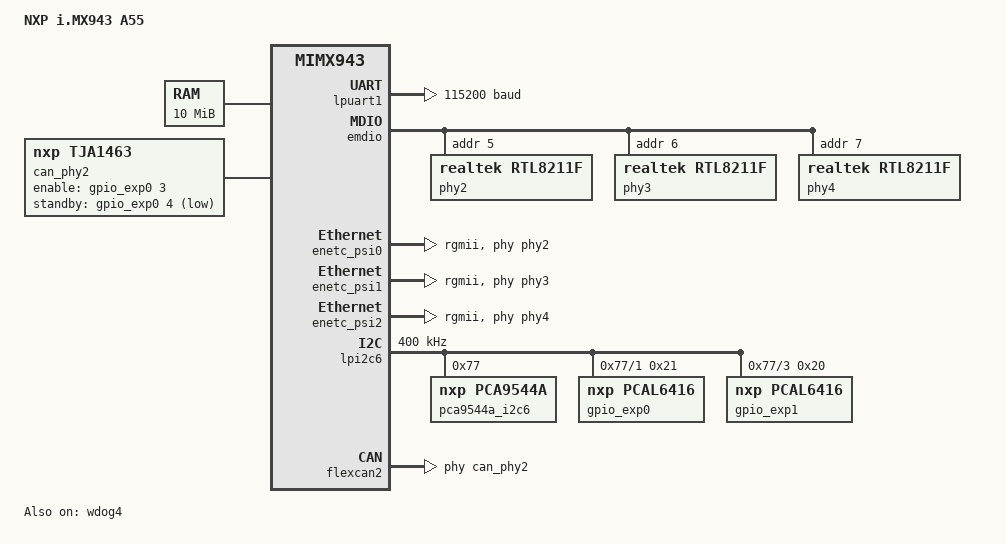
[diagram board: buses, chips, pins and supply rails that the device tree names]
/*
 * Copyright 2025-2026 NXP
 *
 * SPDX-License-Identifier: Apache-2.0
 */

/dts-v1/;

#include <nxp/nxp_mimx943_a55.dtsi>
#include "imx943_evk-pinctrl.dtsi"

/ {
	model = "NXP i.MX943 A55";
	compatible = "fsl,mimx943";

	aliases {
		watchdog0 = &wdog4;
	};

	chosen {
		zephyr,console = &lpuart1;
		zephyr,shell-uart = &lpuart1;
		/* sram node actually locates at DDR DRAM */
		zephyr,sram = &dram;
		zephyr,canbus = &flexcan2;
	};

	cpus {
		cpu@0 {
			status = "disabled";
		};

		cpu@100 {
			status = "disabled";
		};

		cpu@200 {
			status = "disabled";
		};
	};

	dram: memory@d0000000 {
		reg = <0xd0000000 DT_SIZE_M(10)>;
	};

	can_phy2: can-phy2 {
		compatible = "nxp,tja1463", "can-transceiver-gpio";
		enable-gpios = <&gpio_exp0 3 GPIO_ACTIVE_HIGH>;
		standby-gpios = <&gpio_exp0 4 GPIO_ACTIVE_LOW>;
		max-bitrate = <8000000>;
		#phy-cells = <0>;
		status = "okay";
	};
};

&lpuart1 {
	status = "okay";
	current-speed = <115200>;
	pinctrl-0 = <&lpuart1_default>;
	pinctrl-names = "default";
};

&emdio {
	pinctrl-0 = <&emdio_default>;
	pinctrl-names = "default";
	status = "okay";

	phy0: phy@2 {
		compatible = "ethernet-phy";
		reg = <0x2>;
		status = "disabled";
	};

	phy1: phy@3 {
		compatible = "ethernet-phy";
		reg = <0x3>;
		status = "disabled";
	};

	phy2: phy@5 {
		compatible = "realtek,rtl8211f";
		reg = <0x5>;
		status = "okay";
	};

	phy3: phy@6 {
		compatible = "realtek,rtl8211f";
		reg = <0x6>;
		status = "okay";
	};

	phy4: phy@7 {
		compatible = "realtek,rtl8211f";
		reg = <0x7>;
		status = "okay";
	};
};

&enetc_psi0 {
	pinctrl-0 = <&eth2_default>;
	pinctrl-names = "default";
	phy-handle = <&phy2>;
	phy-connection-type = "rgmii";
	status = "okay";
};

&enetc_psi1 {
	pinctrl-0 = <&eth3_default>;
	pinctrl-names = "default";
	phy-handle = <&phy3>;
	phy-connection-type = "rgmii";
	status = "okay";
};

&enetc_psi2 {
	pinctrl-0 = <&eth4_default>;
	pinctrl-names = "default";
	phy-handle = <&phy4>;
	phy-connection-type = "rgmii";
	status = "okay";
};

&netc_ptp_clock0 {
	status = "okay";
};

&switch_port0 {
	zephyr,random-mac-address;
	pinctrl-0 = <&eth0_default>;
	pinctrl-names = "default";
	phy-handle = <&phy0>;
	phy-connection-type = "mii";
	status = "disabled";
};

&switch_port1 {
	zephyr,random-mac-address;
	pinctrl-0 = <&eth1_default>;
	pinctrl-names = "default";
	phy-handle = <&phy1>;
	phy-connection-type = "mii";
	status = "disabled";
};

/* Internal port */
&switch_port3 {
	zephyr,random-mac-address;
	status = "disabled";
};

&wdog4 {
	status = "okay";
};

&lpi2c6 {
	clock-frequency = <I2C_BITRATE_FAST>;
	pinctrl-0 = <&lpi2c6_default>;
	pinctrl-names = "default";
	status = "okay";

	pca9544a_i2c6: i2c-mux@77 {
		compatible = "nxp,pca9544a", "ti,tca9544a";
		reg = <0x77>;
		status = "okay";
		#address-cells = <1>;
		#size-cells = <0>;

		mux_i2c@1 {
			reg = <1>;
			#address-cells = <1>;
			#size-cells = <0>;

			gpio_exp0: pcal6416@21 {
				compatible = "nxp,pcal6416";
				reg = <0x21>;
				#gpio-cells = <2>;
				gpio-controller;
				ngpios = <16>;
				status = "okay";
			};
		};

		mux_i2c@3 {
			reg = <3>;
			#address-cells = <1>;
			#size-cells = <0>;

			gpio_exp1: pcal6416@20 {
				compatible = "nxp,pcal6416";
				reg = <0x20>;
				#gpio-cells = <2>;
				gpio-controller;
				ngpios = <16>;
				status = "okay";
			};
		};
	};
};

&flexcan2 {
	pinctrl-0 = <&flexcan2_default>;
	pinctrl-names = "default";
	phys = <&can_phy2>;
	status = "okay";
};
